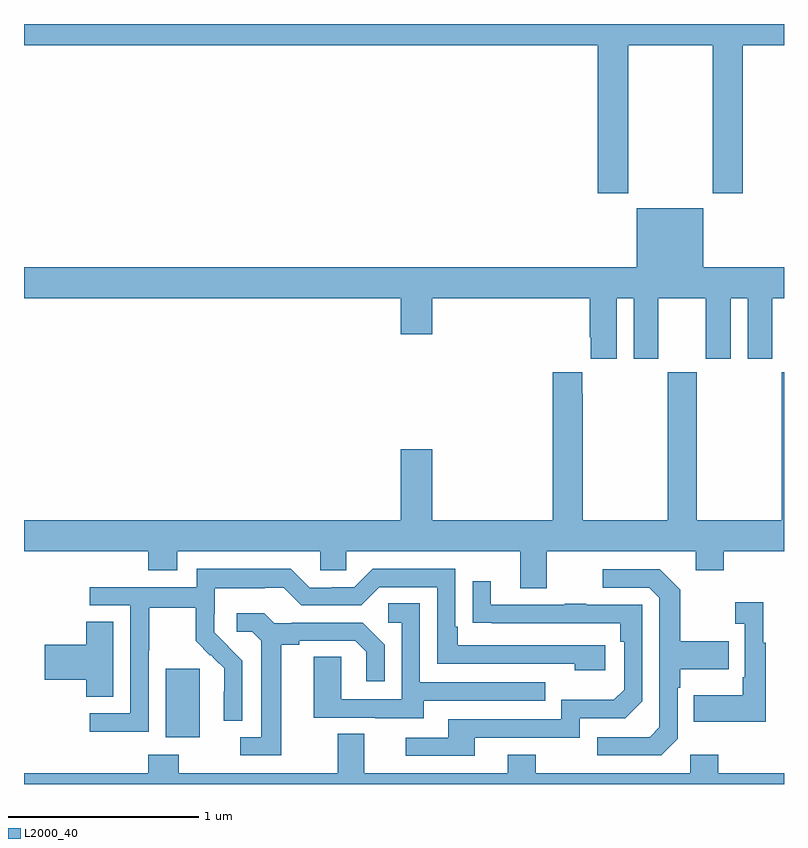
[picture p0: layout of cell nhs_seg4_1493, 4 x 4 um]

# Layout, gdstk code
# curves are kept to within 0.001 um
import gdstk
lib = gdstk.Library(unit=1e-6, precision=1e-09)
def R(c, l, rs):  # rectangles x0, y0, x1, y1
    for r in rs: c.add(gdstk.rectangle(r[:2], r[2:], *l))
def P(c, l, *ps):  # polygons
    for p in ps: c.add(gdstk.Polygon(p, *l))
L2000_40 = (2000, 40)

nhs_seg4_1493 = lib.new_cell('nhs_seg4_1493')
R(nhs_seg4_1493, L2000_40, [(187.745,825.146,187.924,825.507)])
P(nhs_seg4_1493, L2000_40, [(190.179,828.788),(190.624,828.788),(190.624,828.009),(190.784,828.009),(190.784,828.788),(191,828.788),(191,828.9),(187,828.9),(187,828.788),(190.019,828.788),(190.019,828.009),(190.179,828.009)],
  [(190.12,827.456),(190.208,827.456),(190.208,827.139),(190.339,827.139),(190.339,827.456),(190.589,827.456),(190.589,827.139),(190.72,827.139),(190.72,827.456),(190.808,827.456),(190.808,827.139),(190.939,827.139),(190.939,827.456),(191,827.456),(191,827.62),(190.576,827.62),(190.576,827.929),(190.226,827.929),(190.226,827.62),(187,827.62),(187,827.456),(188.984,827.456),(188.984,827.268),(189.148,827.268),(189.148,827.456),(189.977,827.456),(189.977,827.251),(189.983,827.251),(189.983,827.139),(190.12,827.139)],
  [(189.751,826.124),(190.535,826.124),(190.535,826.025),(190.683,826.025),(190.683,826.124),(191,826.124),(191,827.068),(190.987,827.068),(190.987,826.288),(190.542,826.288),(190.542,827.068),(190.387,827.068),(190.387,826.288),(189.942,826.288),(189.942,826.955),(189.937,826.955),(189.937,827.068),(189.782,827.068),(189.782,826.288),(189.148,826.288),(189.148,826.663),(188.984,826.663),(188.984,826.288),(187,826.288),(187,826.124),(187.655,826.124),(187.655,826.025),(187.807,826.025),(187.807,826.124),(188.559,826.124),(188.559,826.026),(188.697,826.026),(188.697,826.124),(189.611,826.124),(189.611,825.93),(189.751,825.93)],
  [(187.656,825.604),(187.659,825.604),(187.659,825.828),(187.903,825.828),(187.903,825.653),(187.98,825.576),(187.983,825.579),(188.054,825.509),(188.054,825.386),(188.052,825.386),(188.052,825.232),(188.148,825.232),(188.148,825.55),(188.002,825.698),(188.002,825.795),(188.004,825.795),(188.004,825.929),(188.267,825.929),(188.267,825.933),(188.367,825.933),(188.46,825.84),(188.775,825.84),(188.871,825.936),(189.174,825.936),(189.174,825.534),(189.899,825.534),(189.899,825.5),(190.06,825.5),(190.06,825.63),(189.283,825.63),(189.283,825.727),(189.27,825.727),(189.27,826.032),(188.835,826.032),(188.739,825.936),(188.621,825.936),(188.621,825.933),(188.505,825.933),(188.405,826.033),(187.908,826.033),(187.908,825.936),(187.347,825.936),(187.347,825.84),(187.56,825.84),(187.56,825.273),(187.347,825.273),(187.347,825.175),(187.656,825.175)],
  [(190.44,825.138),(190.44,825.407),(190.453,825.407),(190.453,825.503),(190.709,825.503),(190.709,825.651),(190.453,825.651),(190.453,825.923),(190.347,826.029),(190.047,826.029),(190.047,825.933),(190.29,825.933),(190.344,825.879),(190.344,825.198),(190.293,825.147),(190.017,825.147),(190.017,825.051),(190.353,825.051)],
  [(189.373,825.144),(189.924,825.144),(189.924,825.246),(190.164,825.246),(190.254,825.336),(190.254,825.843),(189.959,825.843),(189.959,825.848),(189.847,825.848),(189.847,825.843),(189.457,825.843),(189.457,825.967),(189.361,825.967),(189.361,825.748),(190.138,825.747),(190.138,825.65),(190.158,825.65),(190.158,825.396),(190.105,825.343),(189.828,825.343),(189.828,825.24),(189.233,825.24),(189.233,825.144),(189.009,825.144),(189.009,825.048),(189.373,825.048)],
  [(190.903,825.643),(190.891,825.643),(190.891,825.856),(190.743,825.856),(190.743,825.743),(190.794,825.743),(190.794,825.463),(190.782,825.463),(190.782,825.367),(190.525,825.367),(190.525,825.227),(190.903,825.227)],
  [(189.103,825.339),(189.743,825.339),(189.743,825.435),(189.084,825.435),(189.084,825.851),(188.916,825.851),(188.916,825.75),(188.988,825.75),(188.988,825.345),(188.67,825.345),(188.67,825.569),(188.525,825.569),(188.525,825.249),(188.849,825.249),(188.849,825.245),(189.103,825.245)],
  [(188.353,825.632),(188.449,825.632),(188.449,825.654),(188.744,825.654),(188.801,825.597),(188.801,825.441),(188.898,825.441),(188.898,825.634),(188.782,825.75),(188.41,825.75),(188.41,825.747),(188.316,825.747),(188.264,825.799),(188.121,825.799),(188.121,825.702),(188.202,825.702),(188.249,825.655),(188.249,825.147),(188.139,825.147),(188.139,825.051),(188.353,825.051)],
  [(187.471,825.755),(187.328,825.755),(187.328,825.632),(187.11,825.632),(187.11,825.449),(187.328,825.449),(187.328,825.358),(187.471,825.358)],
  [(191,824.956),(190.653,824.956),(190.653,825.055),(190.506,825.055),(190.506,824.956),(189.693,824.956),(189.693,825.055),(189.545,825.055),(189.545,824.956),(188.791,824.956),(188.791,825.164),(188.651,825.164),(188.651,824.956),(187.815,824.956),(187.815,825.055),(187.655,825.055),(187.655,824.956),(187,824.956),(187,824.9),(191,824.9)])

lib.write_gds('nhs_seg4_1493.gds')
